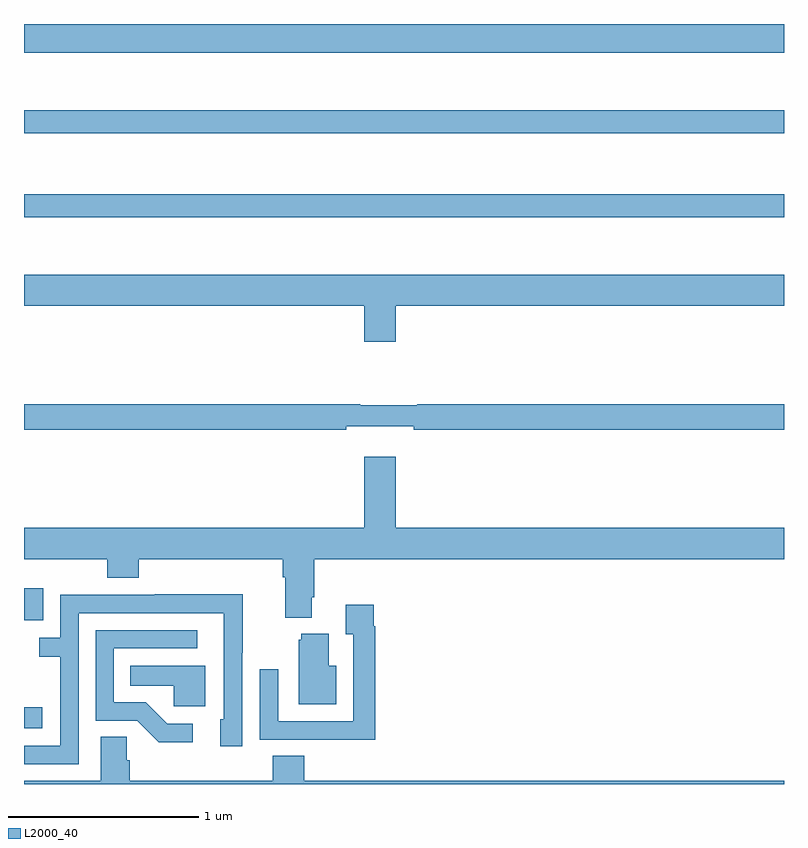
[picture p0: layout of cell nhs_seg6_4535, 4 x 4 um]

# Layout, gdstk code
import gdstk
lib = gdstk.Library(unit=1e-6, precision=1e-09)
def R(c, l, rs):  # rectangles x0, y0, x1, y1
    for r in rs: c.add(gdstk.rectangle(r[:2], r[2:], *l))
def P(c, l, *ps):  # polygons
    for p in ps: c.add(gdstk.Polygon(p, *l))
L2000_40 = (2000, 40)

nhs_seg6_4535 = lib.new_cell('nhs_seg6_4535')
R(nhs_seg6_4535, L2000_40, [(379,931.793,379.096,931.903), (379,932.361,379.101,932.53), (379,934.482,383,934.603), (379,934.926,383,935.047), (379,935.348,383,935.5)])
P(nhs_seg6_4535, L2000_40, [(380.956,934.016),(383,934.016),(383,934.18),(379,934.18),(379,934.016),(380.792,934.016),(380.792,933.828),(380.956,933.828)],
  [(380.696,933.383),(381.052,933.383),(381.052,933.364),(383,933.364),(383,933.5),(381.07,933.5),(381.07,933.493),(380.77,933.493),(380.77,933.5),(379,933.5),(379,933.364),(380.696,933.364)],
  [(380.515,932.482),(380.528,932.482),(380.528,932.684),(383,932.684),(383,932.848),(380.956,932.848),(380.956,933.223),(380.792,933.223),(380.792,932.848),(379,932.848),(379,932.684),(379.439,932.684),(379.439,932.585),(379.604,932.585),(379.604,932.684),(380.363,932.684),(380.363,932.588),(380.375,932.588),(380.375,932.375),(380.515,932.375)],
  [(379.287,932.4),(380.051,932.4),(380.051,932.173),(380.052,932.173),(380.052,931.842),(380.033,931.842),(380.033,931.698),(380.148,931.698),(380.148,932.191),(380.151,932.191),(380.151,932.498),(379.687,932.498),(379.687,932.496),(379.191,932.496),(379.191,932.271),(379.081,932.271),(379.081,932.17),(379.191,932.17),(379.191,931.701),(379,931.701),(379,931.605),(379.287,931.605)],
  [(380.849,932.33),(380.842,932.33),(380.842,932.443),(380.693,932.443),(380.693,932.287),(380.733,932.287),(380.733,931.83),(380.337,931.83),(380.337,932.104),(380.241,932.104),(380.241,931.734),(380.557,931.734),(380.557,931.733),(380.849,931.733)],
  [(379.888,931.818),(379.753,931.818),(379.642,931.929),(379.473,931.929),(379.473,932.214),(379.912,932.214),(379.912,932.31),(379.377,932.31),(379.377,931.833),(379.596,931.833),(379.709,931.721),(379.888,931.721)],
  [(380.644,932.122),(380.605,932.122),(380.605,932.29),(380.459,932.29),(380.459,932.259),(380.447,932.259),(380.447,931.919),(380.644,931.919)],
  [(379.954,932.122),(379.558,932.122),(379.558,932.018),(379.789,932.018),(379.789,931.91),(379.954,931.91)],
  [(383,931.516),(380.474,931.516),(380.474,931.649),(380.309,931.649),(380.309,931.516),(379.556,931.516),(379.556,931.625),(379.542,931.625),(379.542,931.748),(379.403,931.748),(379.403,931.516),(379,931.516),(379,931.5),(383,931.5)])

lib.write_gds('nhs_seg6_4535.gds')
